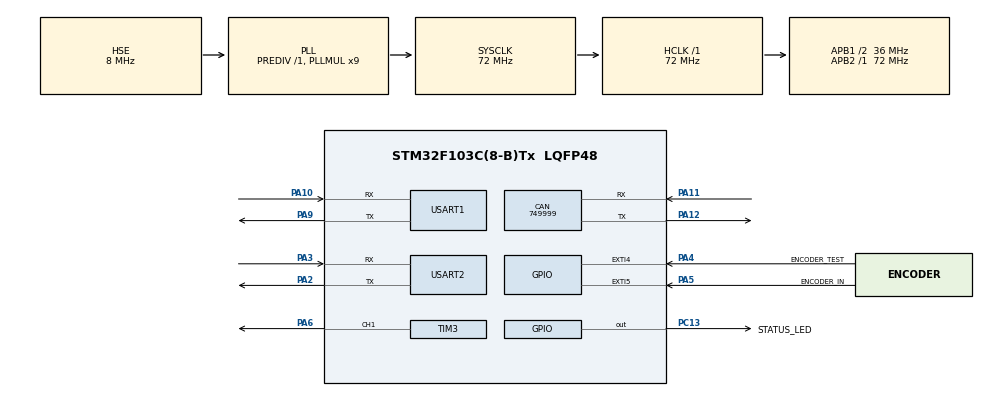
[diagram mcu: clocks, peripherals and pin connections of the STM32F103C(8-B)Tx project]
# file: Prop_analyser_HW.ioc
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CAN.CalculateBaudRate=749999
CAN.CalculateTimeBit=1333
CAN.CalculateTimeQuantum=444.44444444444446
FREERTOS.Mutexes01=CommIO_inMutex,Dynamic,NULL
FREERTOS.Tasks01=CommIO_RdTsk,-2,256,CommIO_RdThread,Default,NULL,Dynamic,NULL,NULL;UAVCAN_Tsk,0,384,UAVCAN_Thread,Default,NULL,Dynamic,NULL,NULL;Encoder_Tsk,3,128,Encoder_Thread,Default,NULL,Dynamic,NULL,NULL;CommIO_RpTask,-1,256,CommIO_RpThread,Default,NULL,Dynamic,NULL,NULL
FREERTOS.configMINIMAL_STACK_SIZE=64
FREERTOS.configTIMER_TASK_PRIORITY=6
FREERTOS.configTIMER_TASK_STACK_DEPTH=64
FREERTOS.configTOTAL_HEAP_SIZE=5888
FREERTOS.configUSE_TIMERS=0
Mcu.Family=STM32F1
Mcu.Name=STM32F103C(8-B)Tx
Mcu.Package=LQFP48
NVIC.EXTI9_5_IRQn=true\:7\:0\:true\:false\:true\:true\:true\:true
NVIC.PriorityGroup=NVIC_PRIORITYGROUP_4
NVIC.TIM1_UP_IRQn=true\:15\:0\:false\:false\:true\:false\:false\:true
NVIC.TIM3_IRQn=true\:6\:0\:true\:false\:true\:true\:true\:true
NVIC.TIM4_IRQn=true\:15\:0\:true\:false\:true\:true\:true\:true
NVIC.TimeBase=TIM1_UP_IRQn
NVIC.TimeBaseIP=TIM1
NVIC.USART1_IRQn=true\:5\:0\:false\:false\:true\:true\:true\:true
PA10.Mode=Asynchronous
PA10.Signal=USART1_RX
PA11.Mode=CAN_Activate
PA11.Signal=CAN_RX
PA12.Mode=CAN_Activate
PA12.Signal=CAN_TX
PA13.Mode=Serial_Wire
PA13.Signal=SYS_JTMS-SWDIO
PA14.Mode=Serial_Wire
PA14.Signal=SYS_JTCK-SWCLK
PA2.Mode=Asynchronous
PA2.Signal=USART2_TX
PA3.Mode=Asynchronous
PA3.Signal=USART2_RX
PA4.GPIO_Label=ENCODER_TEST
PA4.Signal=GPXTI4
PA5.GPIO_Label=ENCODER_IN
PA5.Signal=GPXTI5
PA6.Signal=S_TIM3_CH1
PA9.Mode=Asynchronous
PA9.Signal=USART1_TX
PC13-TAMPER-RTC.GPIO_Label=STATUS_LED
PC13-TAMPER-RTC.Signal=GPIO_Output
PD0-OSC_IN.Mode=HSE-External-Oscillator
PD0-OSC_IN.Signal=RCC_OSC_IN
PD1-OSC_OUT.Mode=HSE-External-Oscillator
PD1-OSC_OUT.Signal=RCC_OSC_OUT
ProjectManager.HeapSize=0x200
ProjectManager.StackSize=0x400
ProjectManager.TargetToolchain=STM32CubeIDE
RCC.AHBFreq_Value=72000000
RCC.APB1CLKDivider=RCC_HCLK_DIV2
RCC.APB1Freq_Value=36000000
RCC.APB1TimFreq_Value=72000000
RCC.APB2Freq_Value=72000000
RCC.APB2TimFreq_Value=72000000
RCC.HCLKFreq_Value=72000000
RCC.PLLMUL=RCC_PLL_MUL9
RCC.PLLSourceVirtual=RCC_PLLSOURCE_HSE
RCC.SYSCLKFreq_VALUE=72000000
RCC.SYSCLKSource=RCC_SYSCLKSOURCE_PLLCLK
RCC.USBFreq_Value=48000000
RCC.USBPrescaler=RCC_USBCLKSOURCE_PLL_DIV1_5
SH.S_TIM3_CH1.0=TIM3_CH1,PWM Generation1 CH1
TIM3.Channel-PWM\ Generation1\ CH1=TIM_CHANNEL_1
TIM3.Period=20000-1
TIM3.Prescaler=72-1
TIM4.Prescaler=72-1
USART1.VirtualMode=VM_ASYNC
USART2.VirtualMode=VM_ASYNC
VP_FREERTOS_VS_CMSIS_V1.Mode=CMSIS_V1
VP_SYS_VS_tim1.Mode=TIM1
VP_TIM4_VS_ClockSourceINT.Mode=Internal
board=custom

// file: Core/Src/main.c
/* USER CODE BEGIN Header */
/**
  ******************************************************************************
  * @file           : main.c
  * @brief          : Main program body
  ******************************************************************************
  * @attention
  *
  * <h2><center>&copy; Copyright (c) 2021 STMicroelectronics.
  * All rights reserved.</center></h2>
  *
  * This software component is licensed by ST under Ultimate Liberty license
  * SLA0044, the "License"; You may not use this file except in compliance with
  * the License. You may obtain a copy of the License at:
  *                             www.st.com/SLA0044
  *
  ******************************************************************************
  */
/* USER CODE END Header */
#include "main.h"
#include "cmsis_os.h"
#include "can.h"
#include "tim.h"
#include "usart.h"
#include "gpio.h"

/* USER CODE BEGIN Includes */
#include "uavcan.h"
#include "comm.h"
#include "utils.h"
/* USER CODE END Includes */

void SystemClock_Config(void);
void MX_FREERTOS_Init(void);

int main(void)
{

  /* MCU Configuration--------------------------------------------------------*/

  /* Reset of all peripherals, Initializes the Flash interface and the Systick. */
  HAL_Init();

  /* Configure the system clock */
  SystemClock_Config();

  /* Initialize all configured peripherals */
  MX_GPIO_Init();
  MX_CAN_Init();
  MX_USART1_UART_Init();
  MX_TIM3_Init();
  MX_USART2_UART_Init();
  MX_TIM4_Init();
  /* USER CODE BEGIN 2 */

  UAVCAN_init();
  comm_IO_init();

  /* Activate TIM4 aka microsecond tick interrupt */
  if (HAL_TIM_Base_Start_IT(&htim4) != HAL_OK) {
	  /* Trigger Error */
	  Error_Handler();
  }

  /* Activate TIM3 PWM chan 1 aka ESC PWM control channel*/
  if (HAL_TIM_PWM_Start(&htim3, TIM_CHANNEL_1) != HAL_OK) {
    Error_Handler();
  }

  // Init at 1000us
  htim3.Instance->CCR1 = 1000 - 1;

  /* USER CODE END 2 */

  /* Call init function for freertos objects (in freertos.c) */
  MX_FREERTOS_Init();
  /* Start scheduler */
  osKernelStart();

  /* We should never get here as control is now taken by the scheduler */
  /* Infinite loop */
  while (1)
  {

  }
}

void SystemClock_Config(void)
{
  RCC_OscInitTypeDef RCC_OscInitStruct = {0};
  RCC_ClkInitTypeDef RCC_ClkInitStruct = {0};

  /** Initializes the RCC Oscillators according to the specified parameters
  * in the RCC_OscInitTypeDef structure.
  */
  RCC_OscInitStruct.OscillatorType = RCC_OSCILLATORTYPE_HSE;
  RCC_OscInitStruct.HSEState = RCC_HSE_ON;
  RCC_OscInitStruct.HSEPredivValue = RCC_HSE_PREDIV_DIV1;
  RCC_OscInitStruct.HSIState = RCC_HSI_ON;
  RCC_OscInitStruct.PLL.PLLState = RCC_PLL_ON;
  RCC_OscInitStruct.PLL.PLLSource = RCC_PLLSOURCE_HSE;
  RCC_OscInitStruct.PLL.PLLMUL = RCC_PLL_MUL9;
  if (HAL_RCC_OscConfig(&RCC_OscInitStruct) != HAL_OK)
  {
    Error_Handler();
  }
  /** Initializes the CPU, AHB and APB buses clocks
  */
  RCC_ClkInitStruct.ClockType = RCC_CLOCKTYPE_HCLK|RCC_CLOCKTYPE_SYSCLK
                              |RCC_CLOCKTYPE_PCLK1|RCC_CLOCKTYPE_PCLK2;
  RCC_ClkInitStruct.SYSCLKSource = RCC_SYSCLKSOURCE_PLLCLK;
  RCC_ClkInitStruct.AHBCLKDivider = RCC_SYSCLK_DIV1;
  RCC_ClkInitStruct.APB1CLKDivider = RCC_HCLK_DIV2;
  RCC_ClkInitStruct.APB2CLKDivider = RCC_HCLK_DIV1;

  if (HAL_RCC_ClockConfig(&RCC_ClkInitStruct, FLASH_LATENCY_2) != HAL_OK)
  {
    Error_Handler();
  }
}

void HAL_TIM_PeriodElapsedCallback(TIM_HandleTypeDef *htim)
{
  if (htim->Instance == TIM1) {
    HAL_IncTick();
  }
  /* USER CODE BEGIN Callback 1 */
  else if (htim->Instance == TIM4) {
	  update_tick_us32();
  }
  /* USER CODE END Callback 1 */
}

void Error_Handler(void)
{
  __disable_irq();
  while (1)
  {
  }
}

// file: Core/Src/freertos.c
/* USER CODE BEGIN Header */
/**
  ******************************************************************************
  * File Name          : freertos.c
  * Description        : Code for freertos applications
  ******************************************************************************
  * @attention
  *
  * <h2><center>&copy; Copyright (c) 2021 STMicroelectronics.
  * All rights reserved.</center></h2>
  *
  * This software component is licensed by ST under Ultimate Liberty license
  * SLA0044, the "License"; You may not use this file except in compliance with
  * the License. You may obtain a copy of the License at:
  *                             www.st.com/SLA0044
  *
  ******************************************************************************
  */
/* USER CODE END Header */

#include "FreeRTOS.h"
#include "task.h"
#include "main.h"
#include "cmsis_os.h"

/* USER CODE BEGIN Includes */
#include "usart.h"
#include "tim.h"
#include "uavcan.h"
#include "comm.h"
#include "encoder.h"
#include "utils.h"
/* USER CODE END Includes */

osThreadId CommIO_RdTskHandle;
osThreadId UAVCAN_TskHandle;
osThreadId Encoder_TskHandle;
osThreadId CommIO_RpTaskHandle;
osMutexId CommIO_inMutexHandle;

void CommIO_RdThread(void const * argument);
void UAVCAN_Thread(void const * argument);
void Encoder_Thread(void const * argument);
void CommIO_RpThread(void const * argument);

void MX_FREERTOS_Init(void); /* (MISRA C 2004 rule 8.1) */

/* GetIdleTaskMemory prototype (linked to static allocation support) */
void vApplicationGetIdleTaskMemory( StaticTask_t **ppxIdleTaskTCBBuffer, StackType_t **ppxIdleTaskStackBuffer, uint32_t *pulIdleTaskStackSize );

/* USER CODE BEGIN GET_IDLE_TASK_MEMORY */
static StaticTask_t xIdleTaskTCBBuffer;
static StackType_t xIdleStack[configMINIMAL_STACK_SIZE];

void vApplicationGetIdleTaskMemory( StaticTask_t **ppxIdleTaskTCBBuffer, StackType_t **ppxIdleTaskStackBuffer, uint32_t *pulIdleTaskStackSize )
{
  *ppxIdleTaskTCBBuffer = &xIdleTaskTCBBuffer;
  *ppxIdleTaskStackBuffer = &xIdleStack[0];
  *pulIdleTaskStackSize = configMINIMAL_STACK_SIZE;
  /* place for user code */
}
/* USER CODE END GET_IDLE_TASK_MEMORY */

void MX_FREERTOS_Init(void) {
  /* Create the mutex(es) */
  /* definition and creation of CommIO_inMutex */
  osMutexDef(CommIO_inMutex);
  CommIO_inMutexHandle = osMutexCreate(osMutex(CommIO_inMutex));

  /* USER CODE BEGIN RTOS_MUTEX */
  /* add mutexes, ... */
  system_time_us64_init();
  /* USER CODE END RTOS_MUTEX */

  /* Create the thread(s) */
  /* definition and creation of CommIO_RdTsk */
  osThreadDef(CommIO_RdTsk, CommIO_RdThread, osPriorityLow, 0, 256);
  CommIO_RdTskHandle = osThreadCreate(osThread(CommIO_RdTsk), NULL);

  /* definition and creation of UAVCAN_Tsk */
  osThreadDef(UAVCAN_Tsk, UAVCAN_Thread, osPriorityNormal, 0, 384);
  UAVCAN_TskHandle = osThreadCreate(osThread(UAVCAN_Tsk), NULL);

  /* definition and creation of Encoder_Tsk */
  osThreadDef(Encoder_Tsk, Encoder_Thread, osPriorityRealtime, 0, 128);
  Encoder_TskHandle = osThreadCreate(osThread(Encoder_Tsk), NULL);

  /* definition and creation of CommIO_RpTask */
  osThreadDef(CommIO_RpTask, CommIO_RpThread, osPriorityBelowNormal, 0, 256);
  CommIO_RpTaskHandle = osThreadCreate(osThread(CommIO_RpTask), NULL);

}

void CommIO_RdThread(void const * argument)
{
  /* USER CODE BEGIN CommIO_RdThread */
	comm_IO_read_init();
	/* Infinite loop */
	for(;;)
	{
		// Wait for packet from UART interrupt
		osSemaphoreWait(CommIO_Read_SemHandle, osWaitForever);

		// Block DAQ_Input
		osMutexWait(CommIO_inMutexHandle, osWaitForever);

		switch(DAQ_input.func) {
		case READ:
			// Begin respond
			osSignalSet(CommIO_RpTaskHandle, COMM_RESPOND);
			htim3.Instance->CCR1 = 1000 - 1;
			break;

		case WRITE:
			// Write PWM signal to ESC
			// HAL_GPIO_TogglePin(STATUS_LED_GPIO_Port, STATUS_LED_Pin);
			htim3.Instance->CCR1 = (uint32_t)DAQ_input.pwm - 1;
			break;

		case STOP:
			// Stop respond, turn off ESC
			osSignalSet(CommIO_RpTaskHandle, COMM_IDLE);
			htim3.Instance->CCR1 = 1000 - 1;
			break;
		}

		osMutexRelease(CommIO_inMutexHandle);
		// osDelay(1);
	}
  /* USER CODE END CommIO_RdThread */
}

void UAVCAN_Thread(void const * argument)
{
  /* USER CODE BEGIN UAVCAN_Thread */
	uint32_t timestamp = 0;
  /* Infinite loop */
	for(;;)
	{

//	if (HAL_GetTick() - timestamp > 1000) {
//		timestamp = HAL_GetTick();
//		HAL_GPIO_TogglePin(STATUS_LED_GPIO_Port, STATUS_LED_Pin);
//	}

	sendCanard();
	receiveCanard();
	spinCanard();
//	char debug_buf[100];
//	int debug_len = sprintf(debug_buf, "time_us: %d\r\n", (int)get_time_us64());
//	HAL_UART_Transmit(&huart1, (uint8_t*)debug_buf, debug_len, 1000);

	osDelay(1);
	}
  /* USER CODE END UAVCAN_Thread */
}

void Encoder_Thread(void const * argument)
{
  /* USER CODE BEGIN Encoder_Thread */
	encoder_init(&encoder_rpm_data);

	//Only calculate after the predefined period
	uint16_t delay_period = encoder_rpm_data.period;
	/* Infinite loop */
	for(;;)
	{
		osDelay(delay_period);

		encoder_read_rpm(&encoder_rpm_data);
	}
  /* USER CODE END Encoder_Thread */
}

void CommIO_RpThread(void const * argument)
{
  /* USER CODE BEGIN CommIO_RpThread */
  /* Infinite loop */
	for(;;)
	{
		osSignalWait(COMM_RESPOND, osWaitForever);

		osMutexWait(CommIO_inMutexHandle, osWaitForever);

		const uint16_t polling_period = DAQ_input.polling_period;
		const uint32_t heartbeat_timestamp = DAQ_input.timestamp;

		osMutexRelease(CommIO_inMutexHandle);

		const uint32_t tmp = HAL_GetTick();

		if (polling_period != 0 && (tmp - heartbeat_timestamp < HEARTBEAT_TIMEOUT) && heartbeat_timestamp != 0) {

			// Run code
			osMutexWait(Airspeed_MutexHandle, osWaitForever);

			float airspeed = uavcan_airspeed_data.airspeed;
			uint32_t timestamp = uavcan_airspeed_data.timestamp;

			osMutexRelease(Airspeed_MutexHandle);

			if (tmp - timestamp > 2000) {
				airspeed = 0;
			}

			osMutexWait(Encoder_MutexHandle, osWaitForever);

			uint16_t rpm = encoder_rpm_data.rpm;
			timestamp = encoder_rpm_data.timestamp;

			osMutexRelease(Encoder_MutexHandle);

			if (tmp - timestamp > 2000) {
				rpm = 0;
			}

			uint8_t buf[12];
			comm_IO_packet_respond_encode(RESPOND, rpm, airspeed, buf);

			HAL_UART_Transmit_IT(&huart1, buf, COMM_BUFFER_LENGTH);

			// Hack, set the signal to RESPOND immediately because the function
			// will clear the signal, thus blocking the thread again

			osSignalSet(CommIO_RpTaskHandle, COMM_RESPOND);

		} else {
			// Stop thread and turn off ESC
			osSignalSet(CommIO_RpTaskHandle, COMM_IDLE);
			htim3.Instance->CCR1 = 1000 - 1;
		}

		osDelay(polling_period);
	}
  /* USER CODE END CommIO_RpThread */
}
